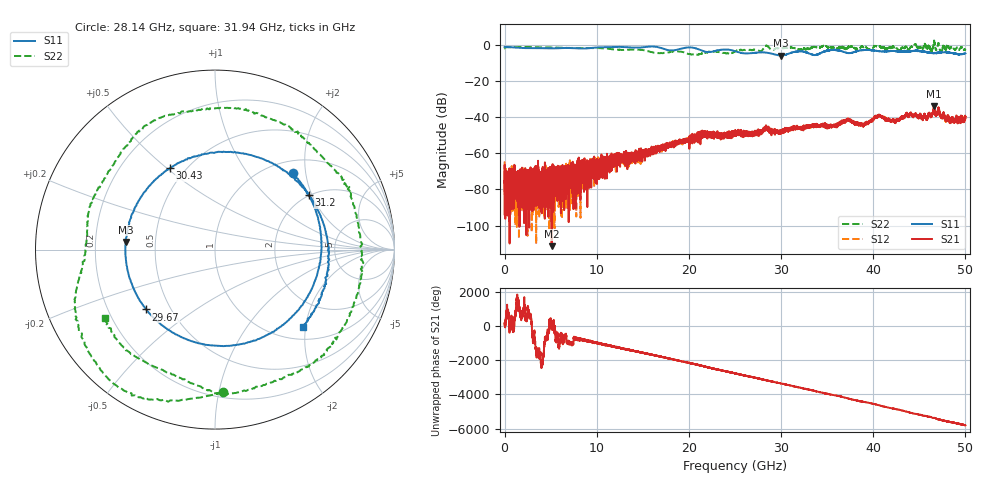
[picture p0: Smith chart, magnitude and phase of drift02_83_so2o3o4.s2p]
!Created with skrf (http://scikit-rf.org).
# Hz S RI R 50.0
!freq ReS11 ImS11 ReS21 ImS21 ReS12 ImS12 ReS22 ImS22
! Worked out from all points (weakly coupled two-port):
!   10001 points, 300 kHz to 50 GHz, reference 50 ohm
!   highest |S21| = -33.88 dB at 46.61 GHz (marker M1); lowest = -111.3 dB at 5.105 GHz (marker M2)
!   lowest |S11| = -6.1 dB at 30.01 GHz (marker M3), VSWR 2.98, Z = 16.8 + j1.91 ohm
!   |S11| at or under -10 dB: nowhere
!   |S22| runs from -5.7 to 2.3 dB; largest |S21 - S12| = 0.0035
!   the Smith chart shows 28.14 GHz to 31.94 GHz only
!   S11 on the Smith chart (normalised r, x): 28.14 GHz: 1.25, +1.70; 29.67 GHz: 0.37, -0.33; 30.43 GHz: 0.41, +0.51; 31.2 GHz: 1.99, +1.90; 31.94 GHz: 1.29, -1.92
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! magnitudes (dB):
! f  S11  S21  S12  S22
! 300 kHz  -1.3  -76.2  -64.4  -2.0
! 255.3 MHz  -1.4  -78.5  -77.6  -1.4
! 5.105 GHz  -2.1  -111.3  -73.9  -1.6
! 8.335 GHz  -2.2  -74.0  -68.5  -1.9
! 16.67 GHz  -1.4  -57.3  -57.7  -4.7
! 21.56 GHz  -3.6  -50.6  -49.2  -4.7
! 25 GHz  -3.7  -49.9  -49.7  -3.9
! 28.14 GHz  -4.3  -47.6  -48.3  -2.0
! 29.67 GHz  -5.9  -48.2  -48.7  -2.1
! 30.01 GHz  -6.1  -48.6  -48.2  -2.0
! 30.43 GHz  -5.7  -47.0  -47.3  -1.8
! 31.2 GHz  -4.4  -46.9  -46.5  -1.7
! 31.94 GHz  -3.7  -45.9  -45.6  -2.8
! 33.34 GHz  -5.5  -44.8  -45.4  -1.5
! 35.6 GHz  -2.9  -45.0  -45.0  -1.6
! 37.29 GHz  -4.8  -41.9  -41.5  -1.2
! 38.86 GHz  -3.0  -44.6  -44.1  -1.3
! 40.64 GHz  -3.6  -38.9  -39.1  -0.9
! 41.67 GHz  -3.6  -41.2  -41.1  -1.9
! 46.61 GHz  -4.7  -33.9  -34.4  2.3
! 48.53 GHz  -4.7  -41.1  -40.8  -1.7
! 50 GHz  -4.9  -39.9  -40.2  -2.7
